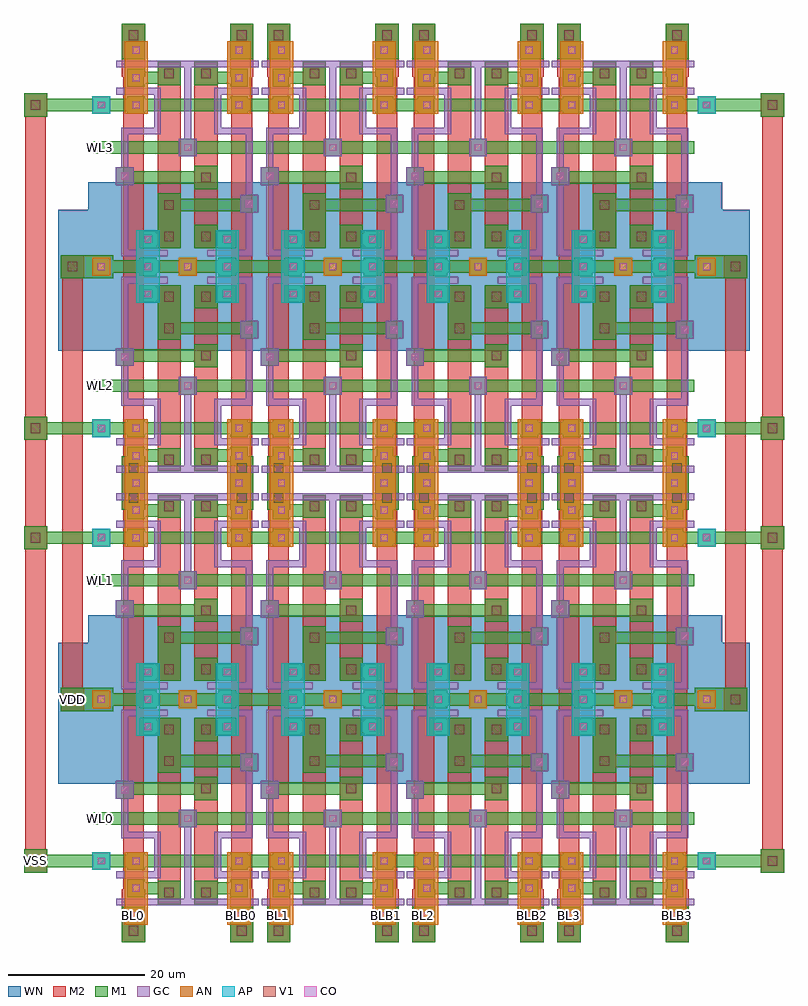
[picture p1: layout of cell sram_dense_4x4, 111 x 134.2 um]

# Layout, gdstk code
import gdstk
lib = gdstk.Library(unit=1e-6, precision=1e-07)
def R(c, l, rs):  # rectangles x0, y0, x1, y1
    for r in rs: c.add(gdstk.rectangle(r[:2], r[2:], *l))
def A(c, l, x, y, w, h, nx, ny, dx, dy):  # array of equal rectangles
    R(c, l, [(x+i*dx, y+j*dy, x+i*dx+w, y+j*dy+h) for i in range(nx) for j in range(ny)])
AP = (3, 1)
AN = (3, 2)
GC = (8, 1)
CO = (11, 0)
M1 = (13, 0)
V1 = (19, 0)
M2 = (20, 0)
WN = (140, 0)

sram_dense = lib.new_cell('sram_dense')
R(sram_dense, AP, [(3.3,26.3,6.7,32.9), (14.9,26.3,18.3,32.9)])
R(sram_dense, AN, [(1.6,-1.3,5,9.3), (16.6,-1.3,20,9.3), (9.5,30.3,12.1,32.9)])
R(sram_dense, GC, [(0.4,1.5,6.2,2.5), (2.8,1.5,18.8,2.5), (10.3,1.5,11.3,14.7), (15.4,1.5,21.2,2.5), (0.4,5.5,6.2,6.5), (2.8,5.5,6.9,6.5), (5.9,5.5,6.9,12.3), (14.7,5.5,18.8,6.5), (14.7,5.5,15.7,12.3), (15.4,5.5,21.2,6.5), (1.1,11.3,6.9,12.3), (1.1,11.3,2.1,30.1), (14.7,11.3,20.3,12.3), (19.3,11.3,20.3,30.1), (9.5,12.9,12.1,15.5), (0.3,17.1,2.9,19.7), (18.5,21.1,21.1,23.7), (1.1,29.1,5.5,30.1), (2.1,29.1,7.9,30.1), (13.7,29.1,19.5,30.1), (16.1,29.1,20.3,30.1)])
A(sram_dense, CO, 2.8, -0.5, 1, 1, 1, 3, 0, 4)
A(sram_dense, CO, 17.8, -0.5, 1, 1, 1, 3, 0, 4)
A(sram_dense, CO, 4.5, 31.1, 1, 1, 3, 1, 5.8, 0)
R(sram_dense, CO, [(10.3,13.7,11.3,14.7), (1.1,17.9,2.1,18.9), (19.3,21.9,20.3,22.9), (4.5,27.1,5.5,28.1), (16.1,27.1,17.1,28.1)])
A(sram_dense, M1, 2, -1.3, 2.6, 2.6, 1, 3, 0, 4)
A(sram_dense, M1, 17, -1.3, 2.6, 2.6, 1, 3, 0, 4)
A(sram_dense, M1, 3.7, 30.3, 2.6, 2.6, 3, 1, 5.8, 0)
R(sram_dense, M1, [(1.2,-3.9,4.6,-0.5), (1.2,-3.9,4.6,1.3), (17,-3.9,20.4,-0.5), (17,-3.9,20.4,1.3), (6.4,1.7,9.8,5.1), (11.8,1.7,15.2,5.1), (7.2,2.5,9,4.9), (12.6,2.5,14.4,4.9), (2.4,3.1,9,4.9), (12.6,3.1,19.2,4.9), (0,7.1,21.2,8.9), (9.5,12.9,12.1,15.5), (0,13.3,21.2,15.1), (11.8,16.9,15.2,20.3), (0.3,17.1,2.9,19.7), (0.7,17.7,14.4,19.5), (6.4,20.9,9.8,24.3), (6.4,20.9,9.8,28.9), (18.5,21.1,21.1,23.7), (7.2,21.7,20.7,23.5), (6.4,25.5,9.8,28.9), (11.8,25.5,15.2,28.9), (3.7,26.3,6.3,28.9), (7.2,26.3,9,28.5), (12.6,26.3,14.4,28.5), (15.3,26.3,17.9,28.9), (4.1,26.7,9,28.5), (12.6,26.7,17.5,28.5), (0,30.7,21.2,32.5)])
R(sram_dense, V1, [(2.2,-2.9,3.6,-1.5), (18,-2.9,19.4,-1.5), (7.4,2.7,8.8,4.1), (12.8,2.7,14.2,4.1), (12.8,17.9,14.2,19.3), (7.4,21.9,8.8,23.3), (7.4,26.5,8.8,27.9), (12.8,26.5,14.2,27.9)])
R(sram_dense, M2, [(1.2,-3.9,4.6,-0.5), (1.2,-3.9,4.6,3.9), (1.4,-3.9,4.4,31.6), (17,-3.9,20.4,-0.5), (17,-3.9,20.4,3.9), (17.2,-3.9,20.2,31.6), (6.4,1.7,9.8,5.1), (6.4,1.7,9.8,28.9), (11.8,1.7,15.2,5.1), (11.8,1.7,15.2,28.9), (11.8,16.9,15.2,20.3), (6.4,20.9,9.8,24.3), (6.4,25.5,9.8,28.9), (11.8,25.5,15.2,28.9)])
R(sram_dense, WN, [(-3.7,19.3,25.3,39.9)])

sram_dense_4x4 = lib.new_cell('sram_dense_4x4')
R(sram_dense_4x4, AP, [(-3.1,6.7,-0.5,9.3), (85.3,6.7,87.9,9.3), (-3.1,53.9,-0.5,56.5), (85.3,53.9,87.9,56.5), (-3.1,69.9,-0.5,72.5), (85.3,69.9,87.9,72.5), (-3.1,117.1,-0.5,119.7), (85.3,117.1,87.9,119.7)])
R(sram_dense_4x4, AN, [(-3.1,30.3,-0.5,32.9), (85.3,30.3,87.9,32.9), (-3.1,93.5,-0.5,96.1), (85.3,93.5,87.9,96.1)])
A(sram_dense_4x4, CO, -2.3, 7.5, 1, 1, 1, 3, 0, 23.6)
A(sram_dense_4x4, CO, 86.1, 7.5, 1, 1, 1, 3, 0, 23.6)
A(sram_dense_4x4, CO, -2.3, 70.7, 1, 1, 1, 3, 0, 23.6)
A(sram_dense_4x4, CO, 86.1, 70.7, 1, 1, 1, 3, 0, 23.6)
A(sram_dense_4x4, M1, -3.1, 6.7, 2.6, 2.6, 1, 3, 0, 23.6)
A(sram_dense_4x4, M1, 85.3, 6.7, 2.6, 2.6, 1, 3, 0, 23.6)
A(sram_dense_4x4, M1, 0, 7.1, 84.8, 1.8, 1, 3, 0, 23.6)
A(sram_dense_4x4, M1, -3.1, 69.9, 2.6, 2.6, 1, 3, 0, 23.6)
A(sram_dense_4x4, M1, 85.3, 69.9, 2.6, 2.6, 1, 3, 0, 23.6)
A(sram_dense_4x4, M1, 0, 70.3, 84.8, 1.8, 1, 3, 0, 23.6)
R(sram_dense_4x4, M1, [(-13.1,6.3,-9.7,9.7), (94.5,6.3,97.9,9.7), (-12.3,7.1,0.9,8.9), (83.9,7.1,97.1,8.9), (-3,13.3,84.8,15.1), (-7.7,29.9,-0.1,33.3), (-7.7,29.9,-4.3,33.3), (84.9,29.9,92.5,33.3), (89.1,29.9,92.5,33.3), (-2.7,30.7,0.9,32.5), (83.9,30.7,87.5,32.5), (-3,48.1,84.8,49.9), (-13.1,53.5,-9.7,56.9), (94.5,53.5,97.9,56.9), (-12.3,54.3,0.9,56.1), (83.9,54.3,97.1,56.1), (-13.1,69.5,-9.7,72.9), (94.5,69.5,97.9,72.9), (-12.3,70.3,0.9,72.1), (83.9,70.3,97.1,72.1), (-3,76.5,84.8,78.3), (-7.7,93.1,-0.1,96.5), (-7.7,93.1,-4.3,96.5), (84.9,93.1,92.5,96.5), (89.1,93.1,92.5,96.5), (-2.7,93.9,0.9,95.7), (83.9,93.9,87.5,95.7), (-3,111.3,84.8,113.1), (-13.1,116.7,-9.7,120.1), (94.5,116.7,97.9,120.1), (-12.3,117.5,0.9,119.3), (83.9,117.5,97.1,119.3)])
R(sram_dense_4x4, V1, [(-12.1,7.3,-10.7,8.7), (95.5,7.3,96.9,8.7), (-6.7,30.9,-5.3,32.3), (90.1,30.9,91.5,32.3), (-12.1,54.5,-10.7,55.9), (95.5,54.5,96.9,55.9), (-12.1,70.5,-10.7,71.9), (95.5,70.5,96.9,71.9), (-6.7,94.1,-5.3,95.5), (90.1,94.1,91.5,95.5), (-12.1,117.7,-10.7,119.1), (95.5,117.7,96.9,119.1)])
R(sram_dense_4x4, M2, [(-13.1,6.3,-9.7,9.7), (-12.9,6.3,-9.9,120.1), (94.5,6.3,97.9,9.7), (94.7,6.3,97.7,120.1), (-7.7,29.9,-4.3,33.3), (-7.5,29.9,-4.5,96.5), (89.1,29.9,92.5,33.3), (89.3,29.9,92.3,96.5), (-13.1,53.5,-9.7,56.9), (94.5,53.5,97.9,56.9), (-13.1,69.5,-9.7,72.9), (94.5,69.5,97.9,72.9), (-7.7,93.1,-4.3,96.5), (89.1,93.1,92.5,96.5), (-13.1,116.7,-9.7,120.1), (94.5,116.7,97.9,120.1)])
R(sram_dense_4x4, WN, [(-8.1,19.3,84.8,39.9), (0,19.3,92.9,39.9), (-8.1,82.5,84.8,103.1), (0,82.5,92.9,103.1)])
r = gdstk.Reference(sram_dense, (0,0)); r.repetition = gdstk.Repetition(4, 1, v1=(21.2,0), v2=(0,0)); sram_dense_4x4.add(r)
r = gdstk.Reference(sram_dense, (0,63.2), x_reflection=True); r.repetition = gdstk.Repetition(4, 1, v1=(21.2,0), v2=(0,0)); sram_dense_4x4.add(r)
r = gdstk.Reference(sram_dense, (0,63.2)); r.repetition = gdstk.Repetition(4, 1, v1=(21.2,0), v2=(0,0)); sram_dense_4x4.add(r)
r = gdstk.Reference(sram_dense, (0,126.4), x_reflection=True); r.repetition = gdstk.Repetition(4, 1, v1=(21.2,0), v2=(0,0)); sram_dense_4x4.add(r)
sram_dense_4x4.add(gdstk.Label('WL0', (-2,14.2), layer=48, texttype=0))
sram_dense_4x4.add(gdstk.Label('WL1', (-2,49), layer=48, texttype=0))
sram_dense_4x4.add(gdstk.Label('WL2', (-2,77.4), layer=48, texttype=0))
sram_dense_4x4.add(gdstk.Label('WL3', (-2,112.2), layer=48, texttype=0))
sram_dense_4x4.add(gdstk.Label('VDD', (-6,31.6), layer=49, texttype=0))
sram_dense_4x4.add(gdstk.Label('VSS', (-11.4,8), layer=49, texttype=0))
sram_dense_4x4.add(gdstk.Label('BL0', (2.9,0), layer=49, texttype=0))
sram_dense_4x4.add(gdstk.Label('BLB0', (18.7,0), layer=49, texttype=0))
sram_dense_4x4.add(gdstk.Label('BL1', (24.1,0), layer=49, texttype=0))
sram_dense_4x4.add(gdstk.Label('BLB1', (39.9,0), layer=49, texttype=0))
sram_dense_4x4.add(gdstk.Label('BL2', (45.3,0), layer=49, texttype=0))
sram_dense_4x4.add(gdstk.Label('BLB2', (61.1,0), layer=49, texttype=0))
sram_dense_4x4.add(gdstk.Label('BL3', (66.5,0), layer=49, texttype=0))
sram_dense_4x4.add(gdstk.Label('BLB3', (82.3,0), layer=49, texttype=0))

lib.write_gds('sram_dense_4x4.gds')
